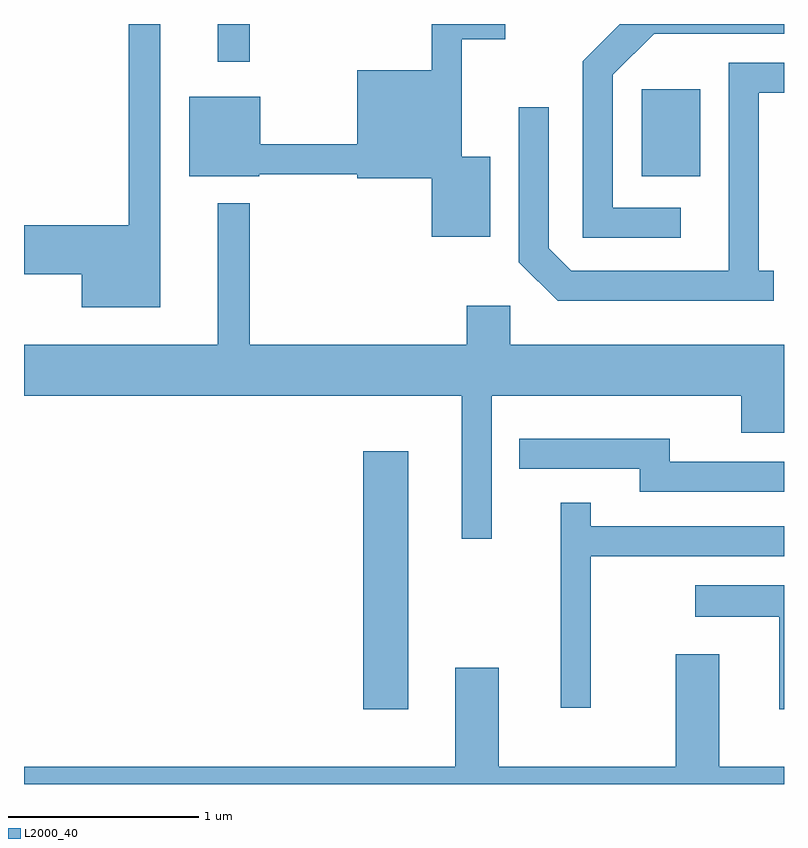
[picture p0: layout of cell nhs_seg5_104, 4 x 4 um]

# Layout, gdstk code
import gdstk
lib = gdstk.Library(unit=1e-6, precision=1e-09)
def R(c, l, rs):  # rectangles x0, y0, x1, y1
    for r in rs: c.add(gdstk.rectangle(r[:2], r[2:], *l))
def P(c, l, *ps):  # polygons
    for p in ps: c.add(gdstk.Polygon(p, *l))
L2000_40 = (2000, 40)

nhs_seg5_104 = lib.new_cell('nhs_seg5_104')
R(nhs_seg5_104, L2000_40, [(189.396,1468.466,189.634,1469.824), (190.861,1471.271,191.169,1471.729), (188.631,1471.873,188.799,1472.072)])
P(nhs_seg5_104, L2000_40, [(188.329,1472.072),(188.161,1472.072),(188.161,1471.014),(187.611,1471.014),(187.611,1470.756),(187.916,1470.756),(187.916,1470.581),(188.329,1470.581)],
  [(190.064,1471.374),(189.914,1471.374),(189.914,1471.991),(190.143,1471.991),(190.143,1472.072),(189.756,1472.072),(189.756,1471.829),(189.366,1471.829),(189.366,1471.439),(188.854,1471.439),(188.854,1471.689),(188.481,1471.689),(188.481,1471.271),(188.85,1471.271),(188.85,1471.281),(189.366,1471.281),(189.366,1471.261),(189.756,1471.261),(189.756,1470.951),(190.064,1470.951)],
  [(191.068,1471.104),(190.709,1471.104),(190.709,1471.804),(190.927,1472.021),(191.611,1472.021),(191.611,1472.072),(190.747,1472.072),(190.551,1471.877),(190.551,1470.946),(191.068,1470.946)],
  [(191.558,1470.774),(191.479,1470.774),(191.479,1471.711),(191.611,1471.711),(191.611,1471.869),(191.321,1471.869),(191.321,1470.774),(190.492,1470.774),(190.374,1470.892),(190.374,1471.633),(190.216,1471.633),(190.216,1470.819),(190.419,1470.616),(191.558,1470.616)],
  [(190.074,1470.116),(191.386,1470.116),(191.386,1469.921),(191.611,1469.921),(191.611,1470.384),(190.169,1470.384),(190.169,1470.589),(189.941,1470.589),(189.941,1470.384),(188.799,1470.384),(188.799,1471.128),(188.631,1471.128),(188.631,1470.384),(187.611,1470.384),(187.611,1470.116),(189.916,1470.116),(189.916,1469.363),(190.074,1469.363)],
  [(191.611,1469.769),(191.009,1469.769),(191.009,1469.889),(190.218,1469.889),(190.218,1469.731),(190.851,1469.731),(190.851,1469.611),(191.611,1469.611)],
  [(190.594,1469.271),(191.611,1469.271),(191.611,1469.429),(190.594,1469.429),(190.594,1469.553),(190.436,1469.553),(190.436,1468.473),(190.594,1468.473)],
  [(191.611,1469.119),(191.143,1469.119),(191.143,1468.951),(191.586,1468.951),(191.586,1468.466),(191.611,1468.466)],
  [(191.611,1468.164),(191.269,1468.164),(191.269,1468.754),(191.041,1468.754),(191.041,1468.164),(190.109,1468.164),(190.109,1468.684),(189.881,1468.684),(189.881,1468.164),(187.611,1468.164),(187.611,1468.072),(191.611,1468.072)])

lib.write_gds('nhs_seg5_104.gds')
